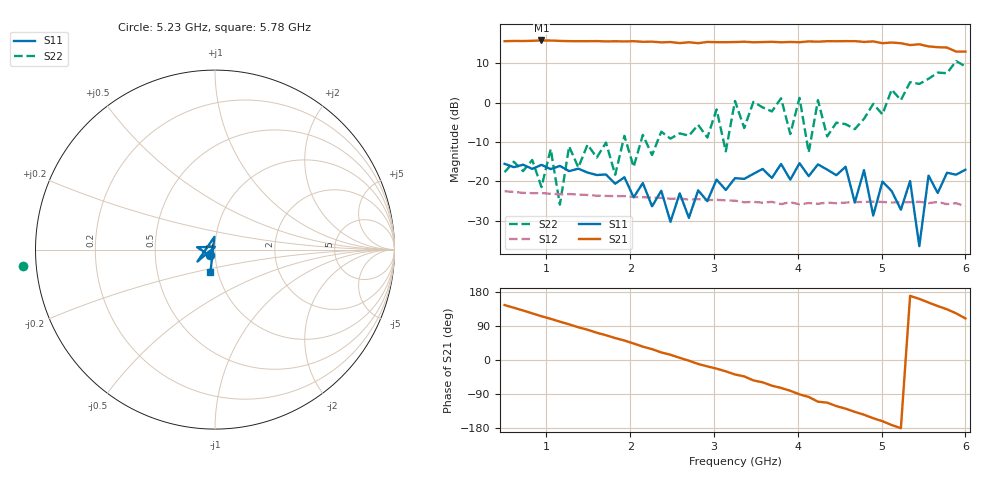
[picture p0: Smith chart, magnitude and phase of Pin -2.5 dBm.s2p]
! RsaToolbox (C) 2015 Rohde & Schwarz America
! Number of points: 51
! Number of ports: 2
! Balanced ports?: No
# Hz S RI R 50
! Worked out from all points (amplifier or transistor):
!   51 points, 500 MHz to 6 GHz, reference 50 ohm
!   highest |S21| = 15.8 dB at 940 MHz (marker M1)
!   |S21| within 3 dB of that: start of sweep to end of sweep
!   unconditionally stable (mu >= 1): start of sweep to 3.004 GHz; 3.047 GHz to 3.219 GHz; 4.286 GHz to 4.805 GHz (the widest 3 of 6)
!   at 1.38 GHz: K = 1.36, MAG = 15.9 dB, |S12| = -23.3 dB
!   at 3.25 GHz: K = 0.08, MSG = 20.1 dB, |S12| = -24.9 dB
!   at 6 GHz: K = -16.12, MSG = 19.6 dB, |S12| = -26.3 dB
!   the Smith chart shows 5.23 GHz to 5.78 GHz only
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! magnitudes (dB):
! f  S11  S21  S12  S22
! 500 MHz  -15.6  15.6  -22.5  -17.7
! 940 MHz  -15.8  15.8  -23.0  -21.4
! 1.05 GHz  -16.9  15.7  -23.1  -11.8
! 1.16 GHz  -16.1  15.6  -23.3  -25.9
! 1.27 GHz  -17.4  15.6  -23.2  -11.1
! 1.49 GHz  -17.8  15.6  -23.5  -10.7
! 1.82 GHz  -20.6  15.6  -23.7  -18.3
! 2.37 GHz  -22.4  15.3  -24.2  -7.4
! 2.48 GHz  -30.3  15.3  -24.4  -9.2
! 3.03 GHz  -19.5  15.3  -24.7  -1.7
! 3.14 GHz  -22.2  15.3  -24.8  -12.4
! 3.25 GHz  -19.2  15.3  -24.9  0.4
! 3.91 GHz  -19.6  15.4  -25.3  -8.0
! 4.02 GHz  -15.4  15.3  -25.8  1.2
! 4.13 GHz  -18.7  15.5  -25.5  -12.7
! 4.24 GHz  -15.7  15.4  -25.7  0.6
! 4.35 GHz  -17.0  15.6  -25.4  -8.6
! 5.12 GHz  -22.5  15.2  -25.4  3.3
! 5.34 GHz  -19.9  14.6  -25.3  5.2
! 5.45 GHz  -36.5  14.8  -25.2  4.7
! 5.56 GHz  -18.5  14.2  -25.5  6.0
! 6 GHz  -17.0  12.9  -26.3  9.2
